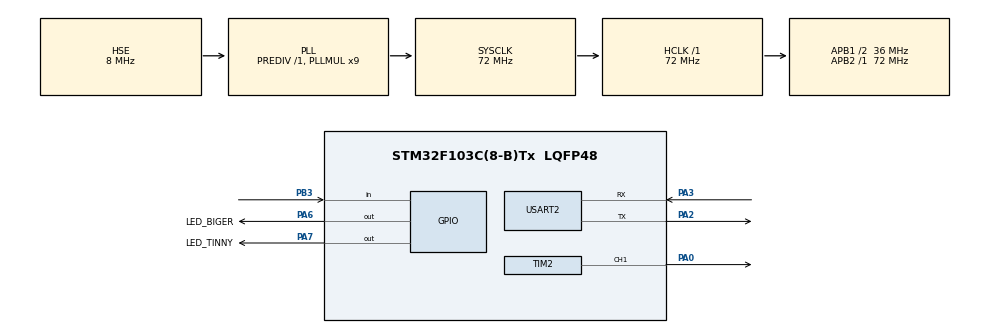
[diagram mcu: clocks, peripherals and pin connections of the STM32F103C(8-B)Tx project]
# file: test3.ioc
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Mcu.Family=STM32F1
Mcu.Name=STM32F103C(8-B)Tx
Mcu.Package=LQFP48
NVIC.PriorityGroup=NVIC_PRIORITYGROUP_4
PA0-WKUP.Signal=S_TIM2_CH1_ETR
PA13.Mode=Serial_Wire
PA13.Signal=SYS_JTMS-SWDIO
PA14.Mode=Serial_Wire
PA14.Signal=SYS_JTCK-SWCLK
PA2.Mode=Asynchronous
PA2.Signal=USART2_TX
PA3.Mode=Asynchronous
PA3.Signal=USART2_RX
PA6.GPIO_Label=LED_BIGER
PA6.Signal=GPIO_Output
PA7.GPIO_Label=LED_TINNY
PA7.Signal=GPIO_Output
PB3.Signal=GPIO_Input
PD0-OSC_IN.Mode=HSE-External-Oscillator
PD0-OSC_IN.Signal=RCC_OSC_IN
PD1-OSC_OUT.Mode=HSE-External-Oscillator
PD1-OSC_OUT.Signal=RCC_OSC_OUT
ProjectManager.HeapSize=0x200
ProjectManager.StackSize=0x400
ProjectManager.TargetToolchain=MDK-ARM V5.32
RCC.AHBFreq_Value=72000000
RCC.APB1CLKDivider=RCC_HCLK_DIV2
RCC.APB1Freq_Value=36000000
RCC.APB1TimFreq_Value=72000000
RCC.APB2Freq_Value=72000000
RCC.APB2TimFreq_Value=72000000
RCC.HCLKFreq_Value=72000000
RCC.PLLMUL=RCC_PLL_MUL9
RCC.PLLSourceVirtual=RCC_PLLSOURCE_HSE
RCC.SYSCLKFreq_VALUE=72000000
RCC.SYSCLKSource=RCC_SYSCLKSOURCE_PLLCLK
RCC.USBFreq_Value=72000000
SH.S_TIM2_CH1_ETR.0=TIM2_CH1,PWM Generation1 CH1
TIM1.AutoReloadPreload=TIM_AUTORELOAD_PRELOAD_ENABLE
TIM1.Period=999
TIM1.Prescaler=359
TIM2.AutoReloadPreload=TIM_AUTORELOAD_PRELOAD_ENABLE
TIM2.Channel-PWM\ Generation1\ CH1=TIM_CHANNEL_1
TIM2.Period=999
TIM2.Prescaler=359
USART2.VirtualMode=VM_ASYNC
VP_TIM1_VS_ClockSourceINT.Mode=Internal
VP_TIM2_VS_ClockSourceINT.Mode=Internal
board=custom

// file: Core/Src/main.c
/* USER CODE BEGIN Header */
/**
  ******************************************************************************
  * @file           : main.c
  * @brief          : Main program body
  ******************************************************************************
  * @attention
  *
  * Copyright (c) 2026 STMicroelectronics.
  * All rights reserved.
  *
  * This software is licensed under terms that can be found in the LICENSE file
  * in the root directory of this software component.
  * If no LICENSE file comes with this software, it is provided AS-IS.
  *
  ******************************************************************************
  */
/* USER CODE END Header */
#include "main.h"

/* USER CODE BEGIN Includes */
#include <string.h>
/* USER CODE END Includes */

TIM_HandleTypeDef htim1;
TIM_HandleTypeDef htim2;

UART_HandleTypeDef huart2;

void SystemClock_Config(void);
static void MX_GPIO_Init(void);
static void MX_USART2_UART_Init(void);
static void MX_TIM2_Init(void);
static void MX_TIM1_Init(void);

/* USER CODE BEGIN 0 */
  volatile uint8_t woduan = 0;
  void HAL_UART_RxCpltCallback(UART_HandleTypeDef *huart)
  {
    if (huart->Instance == USART2)
    {
        woduan = 1;
    }
  }
/* USER CODE END 0 */

int main(void)
{

  /* MCU Configuration--------------------------------------------------------*/

  /* Reset of all peripherals, Initializes the Flash interface and the Systick. */
  HAL_Init();

  /* Configure the system clock */
  SystemClock_Config();

  /* Initialize all configured peripherals */
  MX_GPIO_Init();
  MX_USART2_UART_Init();
  MX_TIM2_Init();
  MX_TIM1_Init();
  /* USER CODE BEGIN 2 */
  HAL_TIM_PWM_Start(&htim2, TIM_CHANNEL_1);
	HAL_NVIC_SetPriority(USART2_IRQn, 0, 0);//AI
  int16_t bijiaozhi = 0;
  int16_t bianhualv = 10;
  unsigned char woshuo[10];
  unsigned char nishuo1[22] = "let there be red light";
  unsigned char nishuo2[24] = "let there be green light";
  unsigned char niyoushuo[15] = "darkness revive";
  HAL_UART_Receive_IT(&huart2, woshuo, 10);
	HAL_NVIC_EnableIRQ(USART2_IRQn);//AI

  uint32_t wochuo = 0;
  /* USER CODE END 2 */

  /* Infinite loop */
  while (1)
  {

    /* USER CODE BEGIN 3 */
    /* ---------------- UART command handling (unchanged) ---------------- */
    if (woduan)
    {
      woduan = 0;

      if (strncmp((const char *)&woshuo[0], "1LED BIGER", 10) == 0)
      {

        HAL_GPIO_WritePin(LED_BIGER_GPIO_Port, LED_BIGER_Pin, GPIO_PIN_SET);
        HAL_UART_Transmit(&huart2, nishuo1, 22, 10);
      }
      else if (strncmp((const char *)&woshuo[0], "1LED TINNY", 10) == 0)
      {

        HAL_GPIO_WritePin(LED_TINNY_GPIO_Port, LED_TINNY_Pin, GPIO_PIN_SET);
        HAL_UART_Transmit(&huart2, nishuo2, 24, 10);
      }
			else if (strncmp((const char *)&woshuo[0], "0LED BIGER", 10) == 0)
      {

        HAL_GPIO_WritePin(LED_TINNY_GPIO_Port, LED_TINNY_Pin, GPIO_PIN_RESET);
        HAL_UART_Transmit(&huart2, niyoushuo, 15, 10);
      }
			else if (strncmp((const char *)&woshuo[0], "0LED TINNY", 10) == 0)
      {

        HAL_GPIO_WritePin(LED_TINNY_GPIO_Port, LED_TINNY_Pin, GPIO_PIN_RESET);
        HAL_UART_Transmit(&huart2, niyoushuo, 15, 10);
      }
      else
      {
        HAL_UART_Transmit(&huart2, niyoushuo, 15, 10);
      }
      memset(woshuo, 0, sizeof(woshuo));
      HAL_UART_Receive_IT(&huart2, woshuo, 10);
    }

    if (HAL_GetTick() - wochuo >= 5)
    {
      wochuo = HAL_GetTick();
			if (HAL_GPIO_ReadPin(GPIOB, GPIO_PIN_3) == GPIO_PIN_SET)
     {
			 HAL_Delay(10);
			 if (HAL_GPIO_ReadPin(GPIOB, GPIO_PIN_3) == GPIO_PIN_SET)
            {
      bijiaozhi += bianhualv;

      if (bijiaozhi >= 200)
      {
        bijiaozhi = 200;
        bianhualv = -10;
      }
      else if (bijiaozhi <= 0)
      {
        bijiaozhi = 0;
        bianhualv = 10;
      }
		}
		}
		 else
		 {bijiaozhi = 0;
		 }
      __HAL_TIM_SET_COMPARE(&htim2, TIM_CHANNEL_1, bijiaozhi);
    }
  }
  /* USER CODE END 3 */
}

void SystemClock_Config(void)
{
  RCC_OscInitTypeDef RCC_OscInitStruct = {0};
  RCC_ClkInitTypeDef RCC_ClkInitStruct = {0};

  /** Initializes the RCC Oscillators according to the specified parameters
  * in the RCC_OscInitTypeDef structure.
  */
  RCC_OscInitStruct.OscillatorType = RCC_OSCILLATORTYPE_HSE;
  RCC_OscInitStruct.HSEState = RCC_HSE_ON;
  RCC_OscInitStruct.HSEPredivValue = RCC_HSE_PREDIV_DIV1;
  RCC_OscInitStruct.HSIState = RCC_HSI_ON;
  RCC_OscInitStruct.PLL.PLLState = RCC_PLL_ON;
  RCC_OscInitStruct.PLL.PLLSource = RCC_PLLSOURCE_HSE;
  RCC_OscInitStruct.PLL.PLLMUL = RCC_PLL_MUL9;
  if (HAL_RCC_OscConfig(&RCC_OscInitStruct) != HAL_OK)
  {
    Error_Handler();
  }

  /** Initializes the CPU, AHB and APB buses clocks
  */
  RCC_ClkInitStruct.ClockType = RCC_CLOCKTYPE_HCLK|RCC_CLOCKTYPE_SYSCLK
                              |RCC_CLOCKTYPE_PCLK1|RCC_CLOCKTYPE_PCLK2;
  RCC_ClkInitStruct.SYSCLKSource = RCC_SYSCLKSOURCE_PLLCLK;
  RCC_ClkInitStruct.AHBCLKDivider = RCC_SYSCLK_DIV1;
  RCC_ClkInitStruct.APB1CLKDivider = RCC_HCLK_DIV2;
  RCC_ClkInitStruct.APB2CLKDivider = RCC_HCLK_DIV1;

  if (HAL_RCC_ClockConfig(&RCC_ClkInitStruct, FLASH_LATENCY_2) != HAL_OK)
  {
    Error_Handler();
  }
}

static void MX_TIM1_Init(void)
{

  TIM_ClockConfigTypeDef sClockSourceConfig = {0};
  TIM_MasterConfigTypeDef sMasterConfig = {0};

  htim1.Instance = TIM1;
  htim1.Init.Prescaler = 359;
  htim1.Init.CounterMode = TIM_COUNTERMODE_UP;
  htim1.Init.Period = 999;
  htim1.Init.ClockDivision = TIM_CLOCKDIVISION_DIV1;
  htim1.Init.RepetitionCounter = 0;
  htim1.Init.AutoReloadPreload = TIM_AUTORELOAD_PRELOAD_ENABLE;
  if (HAL_TIM_Base_Init(&htim1) != HAL_OK)
  {
    Error_Handler();
  }
  sClockSourceConfig.ClockSource = TIM_CLOCKSOURCE_INTERNAL;
  if (HAL_TIM_ConfigClockSource(&htim1, &sClockSourceConfig) != HAL_OK)
  {
    Error_Handler();
  }
  sMasterConfig.MasterOutputTrigger = TIM_TRGO_RESET;
  sMasterConfig.MasterSlaveMode = TIM_MASTERSLAVEMODE_DISABLE;
  if (HAL_TIMEx_MasterConfigSynchronization(&htim1, &sMasterConfig) != HAL_OK)
  {
    Error_Handler();
  }

}

static void MX_TIM2_Init(void)
{

  TIM_ClockConfigTypeDef sClockSourceConfig = {0};
  TIM_MasterConfigTypeDef sMasterConfig = {0};
  TIM_OC_InitTypeDef sConfigOC = {0};

  htim2.Instance = TIM2;
  htim2.Init.Prescaler = 359;
  htim2.Init.CounterMode = TIM_COUNTERMODE_UP;
  htim2.Init.Period = 999;
  htim2.Init.ClockDivision = TIM_CLOCKDIVISION_DIV1;
  htim2.Init.AutoReloadPreload = TIM_AUTORELOAD_PRELOAD_ENABLE;
  if (HAL_TIM_Base_Init(&htim2) != HAL_OK)
  {
    Error_Handler();
  }
  sClockSourceConfig.ClockSource = TIM_CLOCKSOURCE_INTERNAL;
  if (HAL_TIM_ConfigClockSource(&htim2, &sClockSourceConfig) != HAL_OK)
  {
    Error_Handler();
  }
  if (HAL_TIM_PWM_Init(&htim2) != HAL_OK)
  {
    Error_Handler();
  }
  sMasterConfig.MasterOutputTrigger = TIM_TRGO_RESET;
  sMasterConfig.MasterSlaveMode = TIM_MASTERSLAVEMODE_DISABLE;
  if (HAL_TIMEx_MasterConfigSynchronization(&htim2, &sMasterConfig) != HAL_OK)
  {
    Error_Handler();
  }
  sConfigOC.OCMode = TIM_OCMODE_PWM1;
  sConfigOC.Pulse = 0;
  sConfigOC.OCPolarity = TIM_OCPOLARITY_HIGH;
  sConfigOC.OCFastMode = TIM_OCFAST_DISABLE;
  if (HAL_TIM_PWM_ConfigChannel(&htim2, &sConfigOC, TIM_CHANNEL_1) != HAL_OK)
  {
    Error_Handler();
  }
  HAL_TIM_MspPostInit(&htim2);

}

static void MX_USART2_UART_Init(void)
{

  huart2.Instance = USART2;
  huart2.Init.BaudRate = 115200;
  huart2.Init.WordLength = UART_WORDLENGTH_8B;
  huart2.Init.StopBits = UART_STOPBITS_1;
  huart2.Init.Parity = UART_PARITY_NONE;
  huart2.Init.Mode = UART_MODE_TX_RX;
  huart2.Init.HwFlowCtl = UART_HWCONTROL_NONE;
  huart2.Init.OverSampling = UART_OVERSAMPLING_16;
  if (HAL_UART_Init(&huart2) != HAL_OK)
  {
    Error_Handler();
  }

}

static void MX_GPIO_Init(void)
{
  GPIO_InitTypeDef GPIO_InitStruct = {0};

  /* GPIO Ports Clock Enable */
  __HAL_RCC_GPIOD_CLK_ENABLE();
  __HAL_RCC_GPIOA_CLK_ENABLE();
  __HAL_RCC_GPIOB_CLK_ENABLE();

  /*Configure GPIO pin Output Level */
  HAL_GPIO_WritePin(GPIOA, LED_BIGER_Pin|LED_TINNY_Pin, GPIO_PIN_RESET);

  /*Configure GPIO pins : LED_BIGER_Pin LED_TINNY_Pin */
  GPIO_InitStruct.Pin = LED_BIGER_Pin|LED_TINNY_Pin;
  GPIO_InitStruct.Mode = GPIO_MODE_OUTPUT_PP;
  GPIO_InitStruct.Pull = GPIO_NOPULL;
  GPIO_InitStruct.Speed = GPIO_SPEED_FREQ_LOW;
  HAL_GPIO_Init(GPIOA, &GPIO_InitStruct);

  /*Configure GPIO pin : PB3 */
  GPIO_InitStruct.Pin = GPIO_PIN_3;
  GPIO_InitStruct.Mode = GPIO_MODE_INPUT;
  GPIO_InitStruct.Pull = GPIO_NOPULL;
  HAL_GPIO_Init(GPIOB, &GPIO_InitStruct);

}

/* USER CODE BEGIN 4 */
void USART2_IRQHandler(void) { HAL_UART_IRQHandler(&huart2); }//AI
/* USER CODE END 4 */

void Error_Handler(void)
{
  __disable_irq();
  while (1)
  {
  }
}
